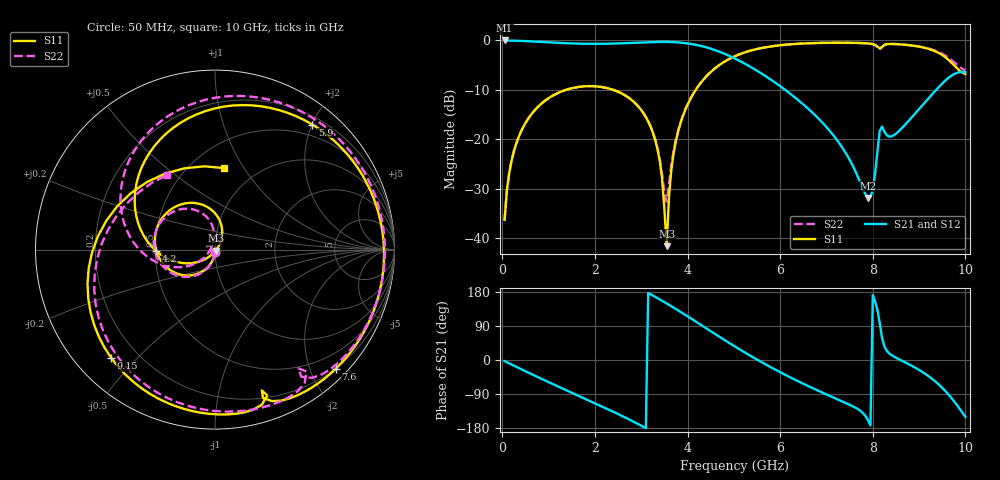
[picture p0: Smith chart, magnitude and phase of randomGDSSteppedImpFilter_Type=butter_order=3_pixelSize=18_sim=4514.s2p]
! freq	dB(S11)	phase(S11)	dB(S12)	phase(S12)
!  dB(S21)	phase(S21)	dB(S22)	phase(S22)
!S-par simulation data
#  GHz  S  DB  R 50
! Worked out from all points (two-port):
!   200 points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, 50 MHz to 10 GHz, reference 50 ohm
!   highest |S21| = 0.00 dB at 50 MHz (marker M1); lowest = -31.9 dB at 7.9 GHz (marker M2)
!   |S21| within 3 dB of the highest: start of sweep to 4.874 GHz
!   lowest |S11| = -41.6 dB at 3.55 GHz (marker M3), VSWR 1.02, Z = 50.5 - j0.687 ohm
!   |S11| at or under -10 dB: start of sweep to 1.375 GHz; 2.397 GHz to 4.178 GHz (1.781 GHz wide, 54.2 % of centre)
!   |S22| runs from -36.3 to -0.5 dB; largest |S21 - S12| = 0
!   S11 on the Smith chart (normalised r, x): 50 MHz: 1.00, -0.03; 4.2 GHz: 0.51, -0.01; 5.9 GHz: 0.32, +2.00; 7.6 GHz: 0.19, -2.42; 9.15 GHz: 0.11, -0.42; 10 GHz: 0.71, +0.82
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0.05  -36.28 -92.9  -0.00 -3.0  -0.00 -3.0  -36.30 -92.7
0.2  -24.33 -102.5  -0.04 -12.0  -0.04 -12.0  -24.31 -101.8
0.5  -16.72 -121.1  -0.14 -29.7  -0.14 -29.7  -16.70 -119.4
1.1  -11.11 -156.9  -0.43 -64.1  -0.43 -64.1  -11.11 -152.6
1.75  -9.30 165.7  -0.67 -100.2  -0.67 -100.2  -9.30 172.9
2.85  -12.52 98.9  -0.47 -163.8  -0.47 -163.8  -12.52 114.2
3.4  -24.36 56.7  -0.29 159.8  -0.29 159.8  -23.99 95.0
3.55  -41.62 -55.1  -0.30 149.1  -0.30 149.1  -32.60 164.5
3.65  -26.16 -128.8  -0.33 141.8  -0.33 141.8  -25.21 -147.3
3.75  -20.28 -140.1  -0.37 134.4  -0.37 134.4  -19.96 -143.1
4.2  -9.69 -178.6  -0.93 99.7  -0.93 99.7  -9.64 -167.3
5.05  -3.08 112.7  -3.78 33.6  -3.78 33.6  -3.07 131.1
5.9  -1.08 52.1  -8.59 -25.8  -8.59 -25.8  -1.09 73.4
6.7  -0.54 3.4  -14.64 -74.2  -14.64 -74.2  -0.55 24.6
7.6  -0.49 -44.7  -25.98 -124.1  -25.98 -124.1  -0.50 -26.0
7.9  -0.61 -60.6  -31.87 -159.5  -31.87 -159.5  -0.62 -43.2
8  -0.74 -66.4  -30.15 171.3  -30.15 171.3  -0.77 -49.5
8.15  -1.65 -71.6  -18.30 97.7  -18.30 97.7  -1.86 -55.0
8.35  -0.71 -80.0  -19.43 18.0  -19.43 18.0  -0.72 -63.6
9.15  -1.56 -133.8  -12.28 -38.1  -12.28 -38.1  -1.51 -119.8
9.6  -3.65 173.6  -7.83 -86.2  -7.83 -86.2  -3.29 -168.3
10  -6.81 83.6  -6.42 -149.9  -6.42 -149.9  -6.13 122.8
